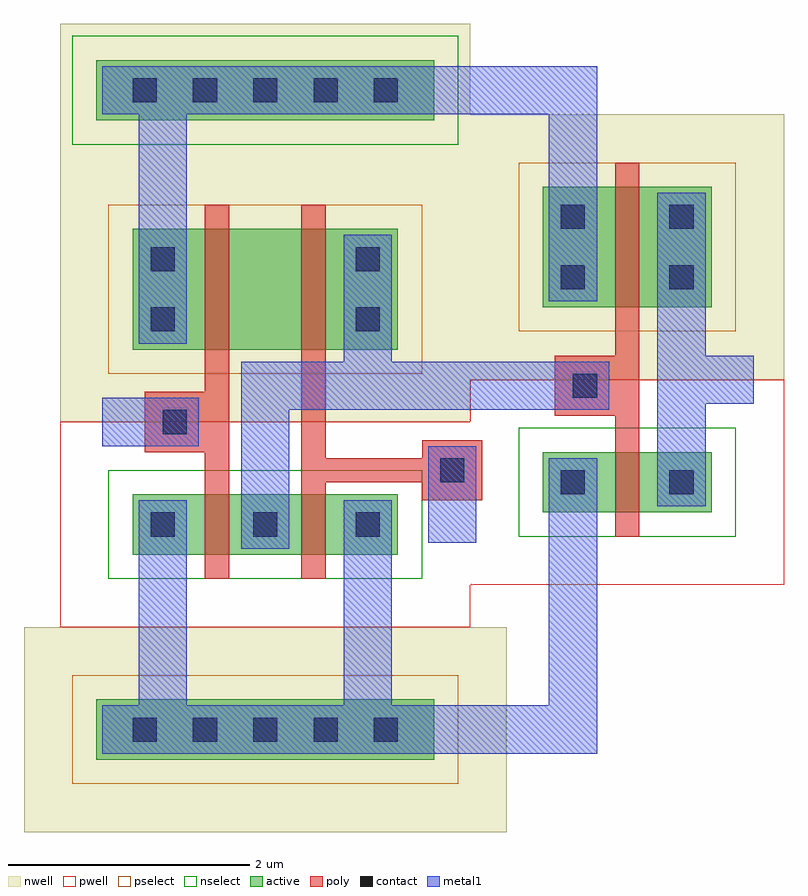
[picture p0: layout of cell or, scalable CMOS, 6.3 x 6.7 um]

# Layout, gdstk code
import gdstk
lib = gdstk.Library(unit=1e-6, precision=1e-09)
def R(c, l, rs):  # rectangles x0, y0, x1, y1
    for r in rs: c.add(gdstk.rectangle(r[:2], r[2:], *l))
def A(c, l, x, y, w, h, nx, ny, dx, dy):  # array of equal rectangles
    R(c, l, [(x+i*dx, y+j*dy, x+i*dx+w, y+j*dy+h) for i in range(nx) for j in range(ny)])
contact = (25, 0)
pwell = (41, 0)
nwell = (42, 0)
active = (43, 0)
pselect = (44, 0)
nselect = (45, 0)
poly = (46, 0)
metal1 = (49, 0)

inv = lib.new_cell('Inv')
R(inv, contact, [(-0.55,-0.9,-0.35,-0.7), (0.35,-0.9,0.55,-0.7), (-0.45,-0.1,-0.25,0.1), (-0.55,0.8,-0.35,1), (0.35,0.8,0.55,1), (-0.55,1.3,-0.35,1.5), (0.35,1.3,0.55,1.5)])
R(inv, pwell, [(-1.3,-1.65,0.4,0.05), (-1,-1.65,1,0.05), (-0.4,-1.65,1.3,0.05), (-1.2,-1.55,0.375,-0.05), (-0.375,-1.55,1.2,-0.05)])
R(inv, nwell, [(-1.3,0.05,0.4,2.25), (-1,0.05,1,2.25), (-0.4,0.05,1.3,2.25), (-1.2,0.4,0.375,1.9), (-0.375,0.4,1.15,1.9)])
R(inv, active, [(-0.7,-1.05,-0.2,-0.55), (-0.4,-1.05,0.4,-0.55), (0.2,-1.05,0.7,-0.55), (-0.6,-0.95,-0.225,-0.65), (0.225,-0.95,0.6,-0.65), (-0.7,0.65,-0.2,1.65), (-0.4,0.65,0.4,1.65), (0.2,0.65,0.7,1.65), (-0.6,1,-0.225,1.3), (0.225,1,0.55,1.3)])
R(inv, pselect, [(-0.9,0.45,0,1.85), (-0.6,0.45,0.6,1.85), (0,0.45,0.9,1.85), (-0.8,0.8,-0.025,1.5), (0.025,0.8,0.75,1.5)])
R(inv, nselect, [(-0.9,-1.25,0,-0.35), (-0.6,-1.25,0.6,-0.35), (0,-1.25,0.9,-0.35), (-0.8,-1.15,-0.025,-0.45), (0.025,-1.15,0.8,-0.45)])
R(inv, poly, [(-0.1,-1.25,0.1,-0.35), (-0.1,-0.45,0.1,0.1), (-0.6,-0.25,-0.1,0.25), (-0.5,-0.1,0.1,0.1), (-0.1,-0.1,0.1,0.55), (-0.1,0.45,0.1,1.85)])
R(inv, metal1, [(-0.65,-1.7,-0.25,-0.6), (-0.65,-1,-0.25,-0.6), (0.25,-1,0.65,-0.6), (0.25,-1,0.65,0.25), (-1,-0.2,-0.15,0.2), (-0.55,-0.2,-0.15,0.2), (0.25,-0.15,0.65,1.35), (0.25,-0.15,1,0.25), (-0.65,0.7,-0.25,1.6), (0.25,0.7,0.65,1.6), (-0.65,0.95,-0.25,2.3)])

c_or = lib.new_cell('or')
A(c_or, contact, -1.1, -2.75, 0.2, 0.2, 5, 2, 0.5, 5.3)
A(c_or, contact, -0.95, -1.05, 0.2, 0.2, 3, 1, 0.85, 0)
R(c_or, contact, [(1.45,-0.6,1.65,-0.4), (-0.85,-0.2,-0.65,0), (-0.95,0.65,-0.75,0.85), (0.75,0.65,0.95,0.85), (-0.95,1.15,-0.75,1.35), (0.75,1.15,0.95,1.35)])
A(c_or, pwell, -1.7, -1.8, 1.7, 1.7, 3, 1, 0.85, 0)
R(c_or, pwell, [(-1.4,-1.8,0.6,-0.1), (-0.6,-1.8,1.4,-0.1), (-1.65,-1.7,-0.025,-0.2), (-0.775,-1.7,0.75,-0.2), (-0.75,-1.7,0.775,-0.2), (0.025,-1.7,1.65,-0.2)])
R(c_or, nwell, [(-2,-3.5,2,-1.8), (-1.7,-0.1,0,2.1), (-1.4,-0.1,0.6,2.1), (-0.6,-0.1,1.4,2.1), (0,-0.1,1.7,2.1), (-1.65,0.25,-0.025,1.75), (0.025,0.25,1.6,1.75), (-0.775,0.3,0.775,1.8), (-1.7,2.1,1.7,3.2)])
A(c_or, active, -1.1, -1.2, 0.5, 0.5, 3, 1, 0.85, 0)
R(c_or, active, [(-1.4,-2.9,1.4,-2.4), (-0.8,-1.2,0,-0.7), (0,-1.2,0.8,-0.7), (-1.05,-1.1,-0.625,-0.8), (-0.175,-1.1,0.15,-0.8), (-0.15,-1.1,0.175,-0.8), (0.625,-1.1,1.05,-0.8), (-1.1,0.5,-0.6,1.5), (-0.8,0.5,0,1.5), (0,0.5,0.8,1.5), (0.6,0.5,1.1,1.5), (-1.05,0.85,-0.625,1.15), (0.625,0.85,1,1.15), (-0.175,0.9,0.175,1.2), (-1.4,2.4,1.4,2.9)])
R(c_or, pselect, [(-1.6,-3.1,1.6,-2.2), (-1.3,0.3,-0.4,1.7), (-1,0.3,0.2,1.7), (-0.2,0.3,1,1.7), (0.4,0.3,1.3,1.7), (-1.25,0.65,-0.425,1.35), (0.425,0.65,1.2,1.35), (-0.375,0.7,0.375,1.4)])
A(c_or, nselect, -1.3, -1.4, 0.9, 0.9, 3, 1, 0.85, 0)
R(c_or, nselect, [(-1,-1.4,0.2,-0.5), (-0.2,-1.4,1,-0.5), (-1.25,-1.3,-0.425,-0.6), (-0.375,-1.3,0.35,-0.6), (-0.35,-1.3,0.375,-0.6), (0.425,-1.3,1.25,-0.6), (-1.6,2.2,1.6,3.1)])
R(c_or, poly, [(-0.5,-1.4,-0.3,-0.5), (0.3,-1.4,0.5,-0.5), (1.3,-0.75,1.8,-0.25), (-0.5,-0.6,-0.3,0), (0.3,-0.6,0.5,0.4), (0.3,-0.6,0.5,-0.4), (0.3,-0.6,1.65,-0.4), (-1,-0.35,-0.5,0.15), (-0.9,-0.2,-0.3,0), (-0.5,-0.2,-0.3,0.4), (-0.5,0.3,-0.3,1.7), (0.3,0.3,0.5,1.7)])
A(c_or, metal1, -1.05, -1.15, 0.4, 0.4, 3, 1, 0.85, 0)
R(c_or, metal1, [(-1.35,-2.85,1.35,-2.45), (-1.05,-2.85,-0.65,-0.75), (-0.25,-2.85,1.3,-2.45), (0.65,-2.85,1.05,-0.75), (0.9,-2.85,1.3,-2.45), (0.9,-2.85,2.75,-2.45), (2.35,-2.85,2.75,-1.1), (-0.2,-1.15,0.2,0.4), (1.35,-1.1,1.75,-0.3), (1.35,-0.7,1.75,-0.3), (-1.35,-0.3,-0.55,0.1), (-0.95,-0.3,-0.55,0.1), (-0.2,0,1.05,0.4), (0.65,0,1.05,1.2), (0.65,0,2.4,0.4), (3.6,0.05,4.05,0.45), (-1.05,0.55,-0.65,1.45), (0.65,0.55,1.05,1.45), (-1.05,0.8,-0.65,2.85), (2.35,2.1,2.75,2.85), (-1.35,2.45,1.35,2.85), (-0.2,2.45,2.75,2.85)])
c_or.add(gdstk.Reference(inv, (3,0.2)))

lib.write_gds('or.gds')
